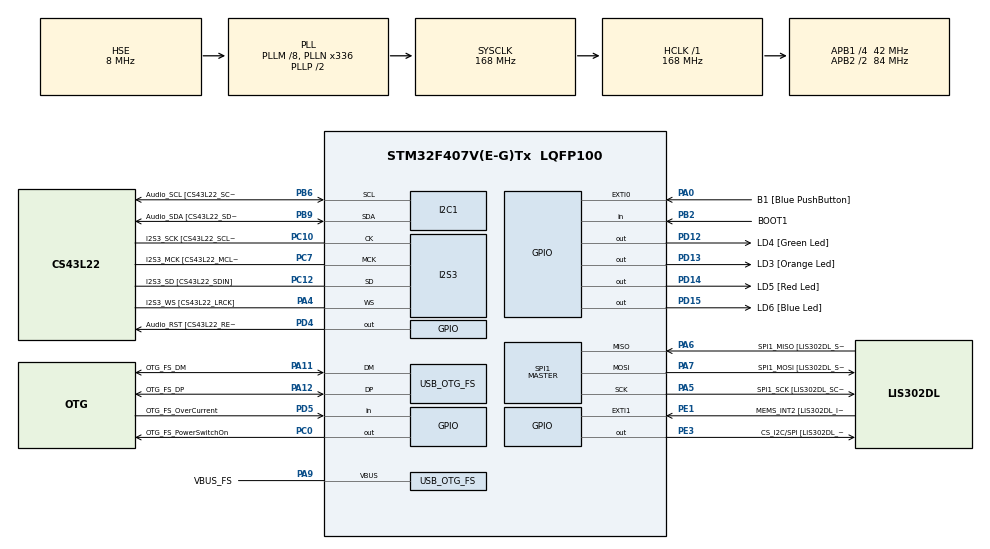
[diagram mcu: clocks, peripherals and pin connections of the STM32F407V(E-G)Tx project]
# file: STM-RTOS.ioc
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FREERTOS.Tasks01=defaultTask,48,128,StartDefaultTask,Default,NULL,Dynamic,NULL,NULL;myTask02,48,128,StartTask02,Default,NULL,Dynamic,NULL,NULL;myTask03,48,128,StartTask03,Default,NULL,Dynamic,NULL,NULL;myTask04,48,128,StartTask04,Default,NULL,Dynamic,NULL,NULL;myTask05,48,128,StartTask05,Default,NULL,Dynamic,NULL,NULL;myTask06,48,128,StartTask06,Default,NULL,Dynamic,NULL,NULL;myTask07,48,128,StartTask07,Default,NULL,Dynamic,NULL,NULL;myTask08,48,128,StartTask08,Default,NULL,Dynamic,NULL,NULL;myTask09,48,128,StartTask09,Default,NULL,Dynamic,NULL,NULL;myTask10,48,128,StartTask10,Default,NULL,Dynamic,NULL,NULL;myTask11,48,128,StartTask11,Default,NULL,Dynamic,NULL,NULL;myTask12,48,128,StartTask12,Default,NULL,Dynamic,NULL,NULL;myTask13,48,128,StartTask13,Default,NULL,Dynamic,NULL,NULL;myTask14,48,128,StartTask14,Default,NULL,Dynamic,NULL,NULL;myTask15,48,128,StartTask15,Default,NULL,Dynamic,NULL,NULL;myTask16,48,128,StartTask16,Default,NULL,Dynamic,NULL,NULL;myTask17,48,128,StartTask17,Default,NULL,Dynamic,NULL,NULL;myTask18,48,128,StartTask18,Default,NULL,Dynamic,NULL,NULL;myTask19,48,128,StartTask19,Default,NULL,Dynamic,NULL,NULL;myTask20,48,128,StartTask20,Default,NULL,Dynamic,NULL,NULL
I2S3.AudioFreq-Half_Duplex_Master=I2S_AUDIOFREQ_96K
I2S3.ErrorAudioFreq=-2.34 %
I2S3.ErrorAudioFreq-Half_Duplex_Master=0.8 %
I2S3.FullDuplexMode=I2S_FULLDUPLEXMODE_DISABLE
I2S3.Instance=SPI$Index
I2S3.RealAudioFreq=93.75 KHz
I2S3.RealAudioFreq-Half_Duplex_Master=96.774 KHz
I2S3.VirtualMode=I2S_MODE_MASTER
Mcu.Family=STM32F4
Mcu.Name=STM32F407V(E-G)Tx
Mcu.Package=LQFP100
NVIC.OTG_FS_IRQn=true\:5\:0\:false\:false\:true\:true\:true\:true\:true
NVIC.PriorityGroup=NVIC_PRIORITYGROUP_4
NVIC.TIM6_DAC_IRQn=true\:15\:0\:false\:false\:true\:false\:false\:true\:true
NVIC.TimeBase=TIM6_DAC_IRQn
NVIC.TimeBaseIP=TIM6
PA0-WKUP.GPIO_Label=B1 [Blue PushButton]
PA0-WKUP.GPIO_ModeDefaultEXTI=GPIO_MODE_EVT_RISING
PA0-WKUP.GPIO_PuPd=GPIO_NOPULL
PA0-WKUP.Signal=GPXTI0
PA10.GPIO_Label=OTG_FS_ID
PA10.GPIO_Mode=GPIO_MODE_AF_PP
PA10.GPIO_PuPd=GPIO_NOPULL
PA10.GPIO_Speed=GPIO_SPEED_FREQ_LOW
PA10.Signal=USB_OTG_FS_ID
PA11.GPIO_Label=OTG_FS_DM
PA11.GPIO_Mode=GPIO_MODE_AF_PP
PA11.GPIO_PuPd=GPIO_NOPULL
PA11.GPIO_Speed=GPIO_SPEED_FREQ_LOW
PA11.Mode=Host_Only
PA11.Signal=USB_OTG_FS_DM
PA12.GPIO_Label=OTG_FS_DP
PA12.GPIO_Mode=GPIO_MODE_AF_PP
PA12.GPIO_PuPd=GPIO_NOPULL
PA12.GPIO_Speed=GPIO_SPEED_FREQ_LOW
PA12.Mode=Host_Only
PA12.Signal=USB_OTG_FS_DP
PA13.GPIO_Label=SWDIO
PA13.Mode=Serial_Wire
PA13.Signal=SYS_JTMS-SWDIO
PA14.GPIO_Label=SWCLK
PA14.Mode=Serial_Wire
PA14.Signal=SYS_JTCK-SWCLK
PA4.GPIO_Label=I2S3_WS [CS43L22_LRCK]
PA4.GPIO_Mode=GPIO_MODE_AF_PP
PA4.GPIO_PuPd=GPIO_NOPULL
PA4.GPIO_Speed=GPIO_SPEED_FREQ_LOW
PA4.Mode=Half_Duplex_Master
PA4.Signal=I2S3_WS
PA5.GPIO_Label=SPI1_SCK [LIS302DL_SCL/SPC]
PA5.GPIO_Mode=GPIO_MODE_AF_PP
PA5.GPIO_PuPd=GPIO_NOPULL
PA5.GPIO_Speed=GPIO_SPEED_FREQ_LOW
PA5.Mode=Full_Duplex_Master
PA5.Signal=SPI1_SCK
PA6.GPIO_Label=SPI1_MISO [LIS302DL_SDO]
PA6.GPIO_Mode=GPIO_MODE_AF_PP
PA6.GPIO_PuPd=GPIO_NOPULL
PA6.GPIO_Speed=GPIO_SPEED_FREQ_LOW
PA6.Mode=Full_Duplex_Master
PA6.Signal=SPI1_MISO
PA7.GPIO_Label=SPI1_MOSI [LIS302DL_SDA/SDI/SDO]
PA7.GPIO_Mode=GPIO_MODE_AF_PP
PA7.GPIO_PuPd=GPIO_NOPULL
PA7.GPIO_Speed=GPIO_SPEED_FREQ_LOW
PA7.Mode=Full_Duplex_Master
PA7.Signal=SPI1_MOSI
PA9.GPIO_Label=VBUS_FS
PA9.GPIO_Mode=GPIO_MODE_INPUT
PA9.GPIO_PuPd=GPIO_NOPULL
PA9.Mode=Activate_VBUS
PA9.Signal=USB_OTG_FS_VBUS
PB10.GPIO_Label=CLK_IN [MP45DT02_CLK]
PB10.GPIO_Mode=GPIO_MODE_AF_PP
PB10.GPIO_PuPd=GPIO_NOPULL
PB10.GPIO_Speed=GPIO_SPEED_FREQ_LOW
PB10.Signal=I2S2_CK
PB2.GPIO_Label=BOOT1
PB2.GPIO_Mode=GPIO_MODE_INPUT
PB2.GPIO_PuPd=GPIO_NOPULL
PB2.Signal=GPIO_Input
PB3.GPIO_Label=SWO
PB3.Signal=SYS_JTDO-SWO
PB6.GPIO_Label=Audio_SCL [CS43L22_SCL]
PB6.GPIO_Mode=GPIO_MODE_AF_OD
PB6.GPIO_Pu=GPIO_PULLUP
PB6.GPIO_PuPd=GPIO_NOPULL
PB6.GPIO_Speed=GPIO_SPEED_FREQ_LOW
PB6.Mode=I2C
PB6.Signal=I2C1_SCL
PB9.GPIO_Label=Audio_SDA [CS43L22_SDA]
PB9.GPIO_Mode=GPIO_MODE_AF_OD
PB9.GPIO_Pu=GPIO_PULLUP
PB9.GPIO_PuPd=GPIO_NOPULL
PB9.GPIO_Speed=GPIO_SPEED_FREQ_LOW
PB9.Mode=I2C
PB9.Signal=I2C1_SDA
PC0.GPIO_Label=OTG_FS_PowerSwitchOn
PC0.GPIO_PuPd=GPIO_NOPULL
PC0.GPIO_Speed=GPIO_SPEED_FREQ_LOW
PC0.PinState=GPIO_PIN_SET
PC0.Signal=GPIO_Output
PC10.GPIO_Label=I2S3_SCK [CS43L22_SCLK]
PC10.GPIO_Mode=GPIO_MODE_AF_PP
PC10.GPIO_PuPd=GPIO_NOPULL
PC10.GPIO_Speed=GPIO_SPEED_FREQ_LOW
PC10.Mode=Half_Duplex_Master
PC10.Signal=I2S3_CK
PC12.GPIO_Label=I2S3_SD [CS43L22_SDIN]
PC12.GPIO_Mode=GPIO_MODE_AF_PP
PC12.GPIO_PuPd=GPIO_NOPULL
PC12.GPIO_Speed=GPIO_SPEED_FREQ_LOW
PC12.Mode=Half_Duplex_Master
PC12.Signal=I2S3_SD
PC14-OSC32_IN.GPIO_Label=PC14-OSC32_IN
PC14-OSC32_IN.Mode=LSE-External-Oscillator
PC14-OSC32_IN.Signal=RCC_OSC32_IN
PC15-OSC32_OUT.GPIO_Label=PC15-OSC32_OUT
PC15-OSC32_OUT.Mode=LSE-External-Oscillator
PC15-OSC32_OUT.Signal=RCC_OSC32_OUT
PC3.GPIO_Label=PDM_OUT [MP45DT02_DOUT]
PC3.GPIO_Mode=GPIO_MODE_AF_PP
PC3.GPIO_PuPd=GPIO_NOPULL
PC3.GPIO_Speed=GPIO_SPEED_FREQ_LOW
PC3.Signal=I2S2_SD
PC7.GPIO_Label=I2S3_MCK [CS43L22_MCLK]
PC7.GPIO_Mode=GPIO_MODE_AF_PP
PC7.GPIO_PuPd=GPIO_NOPULL
PC7.GPIO_Speed=GPIO_SPEED_FREQ_LOW
PC7.Mode=Master_Clock_Activated
PC7.Signal=I2S3_MCK
PD12.GPIO_Label=LD4 [Green Led]
PD12.GPIO_PuPd=GPIO_NOPULL
PD12.GPIO_Speed=GPIO_SPEED_FREQ_LOW
PD12.Signal=GPIO_Output
PD13.GPIO_Label=LD3 [Orange Led]
PD13.GPIO_PuPd=GPIO_NOPULL
PD13.GPIO_Speed=GPIO_SPEED_FREQ_LOW
PD13.Signal=GPIO_Output
PD14.GPIO_Label=LD5 [Red Led]
PD14.GPIO_PuPd=GPIO_NOPULL
PD14.GPIO_Speed=GPIO_SPEED_FREQ_LOW
PD14.Signal=GPIO_Output
PD15.GPIO_Label=LD6 [Blue Led]
PD15.GPIO_PuPd=GPIO_NOPULL
PD15.GPIO_Speed=GPIO_SPEED_FREQ_LOW
PD15.Signal=GPIO_Output
PD4.GPIO_Label=Audio_RST [CS43L22_RESET]
PD4.GPIO_PuPd=GPIO_NOPULL
PD4.GPIO_Speed=GPIO_SPEED_FREQ_LOW
PD4.Signal=GPIO_Output
PD5.GPIO_Label=OTG_FS_OverCurrent
PD5.GPIO_Mode=GPIO_MODE_INPUT
PD5.GPIO_PuPd=GPIO_NOPULL
PD5.Signal=GPIO_Input
PE1.GPIO_Label=MEMS_INT2 [LIS302DL_INT2]
PE1.GPIO_ModeDefaultEXTI=GPIO_MODE_EVT_RISING
PE1.GPIO_PuPd=GPIO_NOPULL
PE1.Signal=GPXTI1
PE3.GPIO_Label=CS_I2C/SPI [LIS302DL_CS_I2C/SPI]
PE3.GPIO_PuPd=GPIO_NOPULL
PE3.GPIO_Speed=GPIO_SPEED_FREQ_LOW
PE3.Signal=GPIO_Output
PH0-OSC_IN.GPIO_Label=PH0-OSC_IN
PH0-OSC_IN.Mode=HSE-External-Oscillator
PH0-OSC_IN.Signal=RCC_OSC_IN
PH1-OSC_OUT.GPIO_Label=PH1-OSC_OUT
PH1-OSC_OUT.Mode=HSE-External-Oscillator
PH1-OSC_OUT.Signal=RCC_OSC_OUT
ProjectManager.HeapSize=0x200
ProjectManager.StackSize=0x400
ProjectManager.TargetToolchain=STM32CubeIDE
RCC.48MHZClocksFreq_Value=48000000
RCC.AHBFreq_Value=168000000
RCC.APB1CLKDivider=RCC_HCLK_DIV4
RCC.APB1Freq_Value=42000000
RCC.APB1TimFreq_Value=84000000
RCC.APB2CLKDivider=RCC_HCLK_DIV2
RCC.APB2Freq_Value=84000000
RCC.APB2TimFreq_Value=168000000
RCC.CortexFreq_Value=168000000
RCC.HCLKFreq_Value=168000000
RCC.HSE_VALUE=8000000
RCC.HSI_VALUE=16000000
RCC.PLLM=8
RCC.PLLN=336
RCC.PLLQ=7
RCC.SYSCLKFreq_VALUE=168000000
RCC.SYSCLKSource=RCC_SYSCLKSOURCE_PLLCLK
RCC.VCOOutputFreq_Value=336000000
SPI1.BaudRatePrescaler-Full_Duplex_Master=SPI_BAUDRATEPRESCALER_2
SPI1.CalculateBaudRate-Full_Duplex_Master=42.0 MBits/s
SPI1.Direction=SPI_DIRECTION_2LINES
SPI1.Mode=SPI_MODE_MASTER
SPI1.Mode-Full_Duplex_Master=SPI_MODE_MASTER
SPI1.VirtualType=VM_MASTER
USB_OTG_FS.VirtualMode=Host_Only
USB_OTG_FS.phy_itface=HCD_PHY_EMBEDDED
VP_FREERTOS_VS_CMSIS_V2.Mode=CMSIS_V2
VP_SYS_VS_tim6.Mode=TIM6
board=STM32F407G-DISC1

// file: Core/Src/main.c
/* USER CODE BEGIN Header */
/**
  ******************************************************************************
  * @file           : main.c
  * @brief          : Main program body
  ******************************************************************************
  * @attention
  *
  * Copyright (c) 2023 STMicroelectronics.
  * All rights reserved.
  *
  * This software is licensed under terms that can be found in the LICENSE file
  * in the root directory of this software component.
  * If no LICENSE file comes with this software, it is provided AS-IS.
  *
  ******************************************************************************
  */
/* USER CODE END Header */
#include "main.h"
#include "cmsis_os.h"

I2C_HandleTypeDef hi2c1;

I2S_HandleTypeDef hi2s3;

SPI_HandleTypeDef hspi1;

HCD_HandleTypeDef hhcd_USB_OTG_FS;

/* Definitions for defaultTask */
osThreadId_t defaultTaskHandle;
const osThreadAttr_t defaultTask_attributes = {
  .name = "defaultTask",
  .stack_size = 128 * 4,
  .priority = (osPriority_t) osPriorityRealtime,
};
/* Definitions for myTask02 */
osThreadId_t myTask02Handle;
const osThreadAttr_t myTask02_attributes = {
  .name = "myTask02",
  .stack_size = 128 * 4,
  .priority = (osPriority_t) osPriorityRealtime,
};
/* Definitions for myTask03 */
osThreadId_t myTask03Handle;
const osThreadAttr_t myTask03_attributes = {
  .name = "myTask03",
  .stack_size = 128 * 4,
  .priority = (osPriority_t) osPriorityRealtime,
};
/* Definitions for myTask04 */
osThreadId_t myTask04Handle;
const osThreadAttr_t myTask04_attributes = {
  .name = "myTask04",
  .stack_size = 128 * 4,
  .priority = (osPriority_t) osPriorityRealtime,
};
/* Definitions for myTask05 */
osThreadId_t myTask05Handle;
const osThreadAttr_t myTask05_attributes = {
  .name = "myTask05",
  .stack_size = 128 * 4,
  .priority = (osPriority_t) osPriorityRealtime,
};
/* Definitions for myTask06 */
osThreadId_t myTask06Handle;
const osThreadAttr_t myTask06_attributes = {
  .name = "myTask06",
  .stack_size = 128 * 4,
  .priority = (osPriority_t) osPriorityRealtime,
};
/* Definitions for myTask07 */
osThreadId_t myTask07Handle;
const osThreadAttr_t myTask07_attributes = {
  .name = "myTask07",
  .stack_size = 128 * 4,
  .priority = (osPriority_t) osPriorityRealtime,
};
/* Definitions for myTask08 */
osThreadId_t myTask08Handle;
const osThreadAttr_t myTask08_attributes = {
  .name = "myTask08",
  .stack_size = 128 * 4,
  .priority = (osPriority_t) osPriorityRealtime,
};
/* Definitions for myTask09 */
osThreadId_t myTask09Handle;
const osThreadAttr_t myTask09_attributes = {
  .name = "myTask09",
  .stack_size = 128 * 4,
  .priority = (osPriority_t) osPriorityRealtime,
};
/* Definitions for myTask10 */
osThreadId_t myTask10Handle;
const osThreadAttr_t myTask10_attributes = {
  .name = "myTask10",
  .stack_size = 128 * 4,
  .priority = (osPriority_t) osPriorityRealtime,
};
/* Definitions for myTask11 */
osThreadId_t myTask11Handle;
const osThreadAttr_t myTask11_attributes = {
  .name = "myTask11",
  .stack_size = 128 * 4,
  .priority = (osPriority_t) osPriorityRealtime,
};
/* Definitions for myTask12 */
osThreadId_t myTask12Handle;
const osThreadAttr_t myTask12_attributes = {
  .name = "myTask12",
  .stack_size = 128 * 4,
  .priority = (osPriority_t) osPriorityRealtime,
};
/* Definitions for myTask13 */
osThreadId_t myTask13Handle;
const osThreadAttr_t myTask13_attributes = {
  .name = "myTask13",
  .stack_size = 128 * 4,
  .priority = (osPriority_t) osPriorityRealtime,
};
/* Definitions for myTask14 */
osThreadId_t myTask14Handle;
const osThreadAttr_t myTask14_attributes = {
  .name = "myTask14",
  .stack_size = 128 * 4,
  .priority = (osPriority_t) osPriorityRealtime,
};
/* Definitions for myTask15 */
osThreadId_t myTask15Handle;
const osThreadAttr_t myTask15_attributes = {
  .name = "myTask15",
  .stack_size = 128 * 4,
  .priority = (osPriority_t) osPriorityRealtime,
};
/* Definitions for myTask16 */
osThreadId_t myTask16Handle;
const osThreadAttr_t myTask16_attributes = {
  .name = "myTask16",
  .stack_size = 128 * 4,
  .priority = (osPriority_t) osPriorityRealtime,
};
/* Definitions for myTask17 */
osThreadId_t myTask17Handle;
const osThreadAttr_t myTask17_attributes = {
  .name = "myTask17",
  .stack_size = 128 * 4,
  .priority = (osPriority_t) osPriorityRealtime,
};
/* Definitions for myTask18 */
osThreadId_t myTask18Handle;
const osThreadAttr_t myTask18_attributes = {
  .name = "myTask18",
  .stack_size = 128 * 4,
  .priority = (osPriority_t) osPriorityRealtime,
};
/* Definitions for myTask19 */
osThreadId_t myTask19Handle;
const osThreadAttr_t myTask19_attributes = {
  .name = "myTask19",
  .stack_size = 128 * 4,
  .priority = (osPriority_t) osPriorityRealtime,
};
/* Definitions for myTask20 */
osThreadId_t myTask20Handle;
const osThreadAttr_t myTask20_attributes = {
  .name = "myTask20",
  .stack_size = 128 * 4,
  .priority = (osPriority_t) osPriorityRealtime,
};
/* USER CODE BEGIN PV */

int count = 0;

/* USER CODE END PV */

void SystemClock_Config(void);
static void MX_GPIO_Init(void);
static void MX_I2C1_Init(void);
static void MX_I2S3_Init(void);
static void MX_SPI1_Init(void);
static void MX_USB_OTG_FS_HCD_Init(void);
void StartDefaultTask(void *argument);
void StartTask02(void *argument);
void StartTask03(void *argument);
void StartTask04(void *argument);
void StartTask05(void *argument);
void StartTask06(void *argument);
void StartTask07(void *argument);
void StartTask08(void *argument);
void StartTask09(void *argument);
void StartTask10(void *argument);
void StartTask11(void *argument);
void StartTask12(void *argument);
void StartTask13(void *argument);
void StartTask14(void *argument);
void StartTask15(void *argument);
void StartTask16(void *argument);
void StartTask17(void *argument);
void StartTask18(void *argument);
void StartTask19(void *argument);
void StartTask20(void *argument);

int main(void)
{

  /* MCU Configuration--------------------------------------------------------*/

  /* Reset of all peripherals, Initializes the Flash interface and the Systick. */
  HAL_Init();

  /* Configure the system clock */
  SystemClock_Config();

  /* Initialize all configured peripherals */
  MX_GPIO_Init();
  MX_I2C1_Init();
  MX_I2S3_Init();
  MX_SPI1_Init();
  MX_USB_OTG_FS_HCD_Init();
  /* USER CODE BEGIN 2 */
  vTraceEnable(TRC_START);
  /* USER CODE END 2 */

  /* Init scheduler */
  osKernelInitialize();

  /* Create the thread(s) */
  /* creation of defaultTask */
  defaultTaskHandle = osThreadNew(StartDefaultTask, NULL, &defaultTask_attributes);

  /* creation of myTask02 */
  myTask02Handle = osThreadNew(StartTask02, NULL, &myTask02_attributes);

  /* creation of myTask03 */
  myTask03Handle = osThreadNew(StartTask03, NULL, &myTask03_attributes);

  /* creation of myTask04 */
  myTask04Handle = osThreadNew(StartTask04, NULL, &myTask04_attributes);

  /* creation of myTask05 */
  myTask05Handle = osThreadNew(StartTask05, NULL, &myTask05_attributes);

  /* creation of myTask06 */
  myTask06Handle = osThreadNew(StartTask06, NULL, &myTask06_attributes);

  /* creation of myTask07 */
  myTask07Handle = osThreadNew(StartTask07, NULL, &myTask07_attributes);

  /* creation of myTask08 */
  myTask08Handle = osThreadNew(StartTask08, NULL, &myTask08_attributes);

  /* creation of myTask09 */
  myTask09Handle = osThreadNew(StartTask09, NULL, &myTask09_attributes);

  /* creation of myTask10 */
  myTask10Handle = osThreadNew(StartTask10, NULL, &myTask10_attributes);

  /* creation of myTask11 */
  myTask11Handle = osThreadNew(StartTask11, NULL, &myTask11_attributes);

  /* creation of myTask12 */
  myTask12Handle = osThreadNew(StartTask12, NULL, &myTask12_attributes);

  /* creation of myTask13 */
  myTask13Handle = osThreadNew(StartTask13, NULL, &myTask13_attributes);

  /* creation of myTask14 */
  myTask14Handle = osThreadNew(StartTask14, NULL, &myTask14_attributes);

  /* creation of myTask15 */
  myTask15Handle = osThreadNew(StartTask15, NULL, &myTask15_attributes);

  /* creation of myTask16 */
  myTask16Handle = osThreadNew(StartTask16, NULL, &myTask16_attributes);

  /* creation of myTask17 */
  myTask17Handle = osThreadNew(StartTask17, NULL, &myTask17_attributes);

  /* creation of myTask18 */
  myTask18Handle = osThreadNew(StartTask18, NULL, &myTask18_attributes);

  /* creation of myTask19 */
  myTask19Handle = osThreadNew(StartTask19, NULL, &myTask19_attributes);

  /* creation of myTask20 */
  myTask20Handle = osThreadNew(StartTask20, NULL, &myTask20_attributes);

  /* Start scheduler */
  osKernelStart();
  /* We should never get here as control is now taken by the scheduler */
  /* Infinite loop */
  while (1)
  {

  }
}

void SystemClock_Config(void)
{
  RCC_OscInitTypeDef RCC_OscInitStruct = {0};
  RCC_ClkInitTypeDef RCC_ClkInitStruct = {0};

  /** Configure the main internal regulator output voltage
  */
  __HAL_RCC_PWR_CLK_ENABLE();
  __HAL_PWR_VOLTAGESCALING_CONFIG(PWR_REGULATOR_VOLTAGE_SCALE1);

  /** Initializes the RCC Oscillators according to the specified parameters
  * in the RCC_OscInitTypeDef structure.
  */
  RCC_OscInitStruct.OscillatorType = RCC_OSCILLATORTYPE_HSE;
  RCC_OscInitStruct.HSEState = RCC_HSE_ON;
  RCC_OscInitStruct.PLL.PLLState = RCC_PLL_ON;
  RCC_OscInitStruct.PLL.PLLSource = RCC_PLLSOURCE_HSE;
  RCC_OscInitStruct.PLL.PLLM = 8;
  RCC_OscInitStruct.PLL.PLLN = 336;
  RCC_OscInitStruct.PLL.PLLP = RCC_PLLP_DIV2;
  RCC_OscInitStruct.PLL.PLLQ = 7;
  if (HAL_RCC_OscConfig(&RCC_OscInitStruct) != HAL_OK)
  {
    Error_Handler();
  }

  /** Initializes the CPU, AHB and APB buses clocks
  */
  RCC_ClkInitStruct.ClockType = RCC_CLOCKTYPE_HCLK|RCC_CLOCKTYPE_SYSCLK
                              |RCC_CLOCKTYPE_PCLK1|RCC_CLOCKTYPE_PCLK2;
  RCC_ClkInitStruct.SYSCLKSource = RCC_SYSCLKSOURCE_PLLCLK;
  RCC_ClkInitStruct.AHBCLKDivider = RCC_SYSCLK_DIV1;
  RCC_ClkInitStruct.APB1CLKDivider = RCC_HCLK_DIV4;
  RCC_ClkInitStruct.APB2CLKDivider = RCC_HCLK_DIV2;

  if (HAL_RCC_ClockConfig(&RCC_ClkInitStruct, FLASH_LATENCY_5) != HAL_OK)
  {
    Error_Handler();
  }
}

static void MX_I2C1_Init(void)
{

  hi2c1.Instance = I2C1;
  hi2c1.Init.ClockSpeed = 100000;
  hi2c1.Init.DutyCycle = I2C_DUTYCYCLE_2;
  hi2c1.Init.OwnAddress1 = 0;
  hi2c1.Init.AddressingMode = I2C_ADDRESSINGMODE_7BIT;
  hi2c1.Init.DualAddressMode = I2C_DUALADDRESS_DISABLE;
  hi2c1.Init.OwnAddress2 = 0;
  hi2c1.Init.GeneralCallMode = I2C_GENERALCALL_DISABLE;
  hi2c1.Init.NoStretchMode = I2C_NOSTRETCH_DISABLE;
  if (HAL_I2C_Init(&hi2c1) != HAL_OK)
  {
    Error_Handler();
  }

}

static void MX_I2S3_Init(void)
{

  hi2s3.Instance = SPI3;
  hi2s3.Init.Mode = I2S_MODE_MASTER_TX;
  hi2s3.Init.Standard = I2S_STANDARD_PHILIPS;
  hi2s3.Init.DataFormat = I2S_DATAFORMAT_16B;
  hi2s3.Init.MCLKOutput = I2S_MCLKOUTPUT_ENABLE;
  hi2s3.Init.AudioFreq = I2S_AUDIOFREQ_96K;
  hi2s3.Init.CPOL = I2S_CPOL_LOW;
  hi2s3.Init.ClockSource = I2S_CLOCK_PLL;
  hi2s3.Init.FullDuplexMode = I2S_FULLDUPLEXMODE_DISABLE;
  if (HAL_I2S_Init(&hi2s3) != HAL_OK)
  {
    Error_Handler();
  }

}

static void MX_SPI1_Init(void)
{

  /* SPI1 parameter configuration*/
  hspi1.Instance = SPI1;
  hspi1.Init.Mode = SPI_MODE_MASTER;
  hspi1.Init.Direction = SPI_DIRECTION_2LINES;
  hspi1.Init.DataSize = SPI_DATASIZE_8BIT;
  hspi1.Init.CLKPolarity = SPI_POLARITY_LOW;
  hspi1.Init.CLKPhase = SPI_PHASE_1EDGE;
  hspi1.Init.NSS = SPI_NSS_SOFT;
  hspi1.Init.BaudRatePrescaler = SPI_BAUDRATEPRESCALER_2;
  hspi1.Init.FirstBit = SPI_FIRSTBIT_MSB;
  hspi1.Init.TIMode = SPI_TIMODE_DISABLE;
  hspi1.Init.CRCCalculation = SPI_CRCCALCULATION_DISABLE;
  hspi1.Init.CRCPolynomial = 10;
  if (HAL_SPI_Init(&hspi1) != HAL_OK)
  {
    Error_Handler();
  }

}

static void MX_USB_OTG_FS_HCD_Init(void)
{

  hhcd_USB_OTG_FS.Instance = USB_OTG_FS;
  hhcd_USB_OTG_FS.Init.Host_channels = 8;
  hhcd_USB_OTG_FS.Init.speed = HCD_SPEED_FULL;
  hhcd_USB_OTG_FS.Init.dma_enable = DISABLE;
  hhcd_USB_OTG_FS.Init.phy_itface = HCD_PHY_EMBEDDED;
  hhcd_USB_OTG_FS.Init.Sof_enable = DISABLE;
  if (HAL_HCD_Init(&hhcd_USB_OTG_FS) != HAL_OK)
  {
    Error_Handler();
  }

}

static void MX_GPIO_Init(void)
{
  GPIO_InitTypeDef GPIO_InitStruct = {0};

  /* GPIO Ports Clock Enable */
  __HAL_RCC_GPIOE_CLK_ENABLE();
  __HAL_RCC_GPIOC_CLK_ENABLE();
  __HAL_RCC_GPIOH_CLK_ENABLE();
  __HAL_RCC_GPIOA_CLK_ENABLE();
  __HAL_RCC_GPIOB_CLK_ENABLE();
  __HAL_RCC_GPIOD_CLK_ENABLE();

  /*Configure GPIO pin Output Level */
  HAL_GPIO_WritePin(CS_I2C_SPI_GPIO_Port, CS_I2C_SPI_Pin, GPIO_PIN_RESET);

  /*Configure GPIO pin Output Level */
  HAL_GPIO_WritePin(OTG_FS_PowerSwitchOn_GPIO_Port, OTG_FS_PowerSwitchOn_Pin, GPIO_PIN_SET);

  /*Configure GPIO pin Output Level */
  HAL_GPIO_WritePin(GPIOD, LD4_Pin|LD3_Pin|LD5_Pin|LD6_Pin
                          |Audio_RST_Pin, GPIO_PIN_RESET);

  /*Configure GPIO pin : CS_I2C_SPI_Pin */
  GPIO_InitStruct.Pin = CS_I2C_SPI_Pin;
  GPIO_InitStruct.Mode = GPIO_MODE_OUTPUT_PP;
  GPIO_InitStruct.Pull = GPIO_NOPULL;
  GPIO_InitStruct.Speed = GPIO_SPEED_FREQ_LOW;
  HAL_GPIO_Init(CS_I2C_SPI_GPIO_Port, &GPIO_InitStruct);

  /*Configure GPIO pin : OTG_FS_PowerSwitchOn_Pin */
  GPIO_InitStruct.Pin = OTG_FS_PowerSwitchOn_Pin;
  GPIO_InitStruct.Mode = GPIO_MODE_OUTPUT_PP;
  GPIO_InitStruct.Pull = GPIO_NOPULL;
  GPIO_InitStruct.Speed = GPIO_SPEED_FREQ_LOW;
  HAL_GPIO_Init(OTG_FS_PowerSwitchOn_GPIO_Port, &GPIO_InitStruct);

  /*Configure GPIO pin : PDM_OUT_Pin */
  GPIO_InitStruct.Pin = PDM_OUT_Pin;
  GPIO_InitStruct.Mode = GPIO_MODE_AF_PP;
  GPIO_InitStruct.Pull = GPIO_NOPULL;
  GPIO_InitStruct.Speed = GPIO_SPEED_FREQ_LOW;
  GPIO_InitStruct.Alternate = GPIO_AF5_SPI2;
  HAL_GPIO_Init(PDM_OUT_GPIO_Port, &GPIO_InitStruct);

  /*Configure GPIO pin : B1_Pin */
  GPIO_InitStruct.Pin = B1_Pin;
  GPIO_InitStruct.Mode = GPIO_MODE_EVT_RISING;
  GPIO_InitStruct.Pull = GPIO_NOPULL;
  HAL_GPIO_Init(B1_GPIO_Port, &GPIO_InitStruct);

  /*Configure GPIO pin : BOOT1_Pin */
  GPIO_InitStruct.Pin = BOOT1_Pin;
  GPIO_InitStruct.Mode = GPIO_MODE_INPUT;
  GPIO_InitStruct.Pull = GPIO_NOPULL;
  HAL_GPIO_Init(BOOT1_GPIO_Port, &GPIO_InitStruct);

  /*Configure GPIO pin : CLK_IN_Pin */
  GPIO_InitStruct.Pin = CLK_IN_Pin;
  GPIO_InitStruct.Mode = GPIO_MODE_AF_PP;
  GPIO_InitStruct.Pull = GPIO_NOPULL;
  GPIO_InitStruct.Speed = GPIO_SPEED_FREQ_LOW;
  GPIO_InitStruct.Alternate = GPIO_AF5_SPI2;
  HAL_GPIO_Init(CLK_IN_GPIO_Port, &GPIO_InitStruct);

  /*Configure GPIO pins : LD4_Pin LD3_Pin LD5_Pin LD6_Pin
                           Audio_RST_Pin */
  GPIO_InitStruct.Pin = LD4_Pin|LD3_Pin|LD5_Pin|LD6_Pin
                          |Audio_RST_Pin;
  GPIO_InitStruct.Mode = GPIO_MODE_OUTPUT_PP;
  GPIO_InitStruct.Pull = GPIO_NOPULL;
  GPIO_InitStruct.Speed = GPIO_SPEED_FREQ_LOW;
  HAL_GPIO_Init(GPIOD, &GPIO_InitStruct);

  /*Configure GPIO pin : OTG_FS_OverCurrent_Pin */
  GPIO_InitStruct.Pin = OTG_FS_OverCurrent_Pin;
  GPIO_InitStruct.Mode = GPIO_MODE_INPUT;
  GPIO_InitStruct.Pull = GPIO_NOPULL;
  HAL_GPIO_Init(OTG_FS_OverCurrent_GPIO_Port, &GPIO_InitStruct);

  /*Configure GPIO pin : MEMS_INT2_Pin */
  GPIO_InitStruct.Pin = MEMS_INT2_Pin;
  GPIO_InitStruct.Mode = GPIO_MODE_EVT_RISING;
  GPIO_InitStruct.Pull = GPIO_NOPULL;
  HAL_GPIO_Init(MEMS_INT2_GPIO_Port, &GPIO_InitStruct);

}

void StartDefaultTask(void *argument)
{
  /* USER CODE BEGIN 5 */
	traceString counter_string = xTraceRegisterString("Task 1");
  /* Infinite loop */
  for(;;)
  {
    HAL_GPIO_TogglePin(GPIOD, GPIO_PIN_15);
    vTracePrintF(counter_string, "Counter: %d", count);
    count++;
    osDelay(1);
  }
  /* USER CODE END 5 */
}

void StartTask02(void *argument)
{
  /* USER CODE BEGIN StartTask02 */
	traceString counter_string = xTraceRegisterString("Task 2");
  /* Infinite loop */
  for(;;)
  {
	  vTracePrintF(counter_string, "Counter: %d", count);
	  count++;
    osDelay(1);
  }
  /* USER CODE END StartTask02 */
}

void StartTask03(void *argument)
{
  /* USER CODE BEGIN StartTask03 */
	traceString counter_string = xTraceRegisterString("Task 3");
  /* Infinite loop */
  for(;;)
  {
	  vTracePrintF(counter_string, "Counter: %d", count);
	  count++;
    osDelay(1);
  }
  /* USER CODE END StartTask03 */
}

void StartTask04(void *argument)
{
  /* USER CODE BEGIN StartTask04 */
	traceString counter_string = xTraceRegisterString("Task 4");
  /* Infinite loop */
  for(;;)
  {
	  vTracePrintF(counter_string, "Counter: %d", count);
	  count++;
    osDelay(1);
  }
  /* USER CODE END StartTask04 */
}

void StartTask05(void *argument)
{
  /* USER CODE BEGIN StartTask05 */
	traceString counter_string = xTraceRegisterString("Task 5");
  /* Infinite loop */
  for(;;)
  {
	  vTracePrintF(counter_string, "Counter: %d", count);
	  count++;
    osDelay(1);
  }
  /* USER CODE END StartTask05 */
}

void StartTask06(void *argument)
{
  /* USER CODE BEGIN StartTask06 */
	traceString counter_string = xTraceRegisterString("Task 6");
  /* Infinite loop */
  for(;;)
  {
	  vTracePrintF(counter_string, "Counter: %d", count);
	  count++;
    osDelay(1);
  }
  /* USER CODE END StartTask06 */
}

void StartTask07(void *argument)
{
  /* USER CODE BEGIN StartTask07 */
	traceString counter_string = xTraceRegisterString("Task 7");
  /* Infinite loop */
  for(;;)
  {
	  vTracePrintF(counter_string, "Counter: %d", count);
	  count++;
    osDelay(1);
  }
  /* USER CODE END StartTask07 */
}

void StartTask08(void *argument)
{
  /* USER CODE BEGIN StartTask08 */
	traceString counter_string = xTraceRegisterString("Task 8");
  /* Infinite loop */
  for(;;)
  {
	  vTracePrintF(counter_string, "Counter: %d", count);
	  count++;
    osDelay(1);
  }
  /* USER CODE END StartTask08 */
}

void StartTask09(void *argument)
{
  /* USER CODE BEGIN StartTask09 */
	traceString counter_string = xTraceRegisterString("Task 9");
  /* Infinite loop */
  for(;;)
  {
	  vTracePrintF(counter_string, "Counter: %d", count);
	  count++;
    osDelay(1);
  }
  /* USER CODE END StartTask09 */
}

void StartTask10(void *argument)
{
  /* USER CODE BEGIN StartTask10 */
	traceString counter_string = xTraceRegisterString("Task 10");
  /* Infinite loop */
  for(;;)
  {
	  vTracePrintF(counter_string, "Counter: %d", count);
	  count++;
    osDelay(1);
  }
  /* USER CODE END StartTask10 */
}

void StartTask11(void *argument)
{
  /* USER CODE BEGIN StartTask11 */
	traceString counter_string = xTraceRegisterString("Task 11");
  /* Infinite loop */
  for(;;)
  {
	  vTracePrintF(counter_string, "Counter: %d", count);
	  count++;
    osDelay(1);
  }
  /* USER CODE END StartTask11 */
}

void StartTask12(void *argument)
{
  /* USER CODE BEGIN StartTask12 */
	traceString counter_string = xTraceRegisterString("Task 12");
  /* Infinite loop */
  for(;;)
  {
	  vTracePrintF(counter_string, "Counter: %d", count);
	  count++;
    osDelay(1);
  }
  /* USER CODE END StartTask12 */
}

void StartTask13(void *argument)
{
  /* USER CODE BEGIN StartTask13 */
	traceString counter_string = xTraceRegisterString("Task 13");
  /* Infinite loop */
  for(;;)
  {
	  vTracePrintF(counter_string, "Counter: %d", count);
	  count++;
    osDelay(1);
  }
  /* USER CODE END StartTask13 */
}

void StartTask14(void *argument)
{
  /* USER CODE BEGIN StartTask14 */
	traceString counter_string = xTraceRegisterString("Task 14");
  /* Infinite loop */
  for(;;)
  {
	  vTracePrintF(counter_string, "Counter: %d", count);
	  count++;
    osDelay(1);
  }
  /* USER CODE END StartTask14 */
}

void StartTask15(void *argument)
{
  /* USER CODE BEGIN StartTask15 */
	traceString counter_string = xTraceRegisterString("Task 15");
  /* Infinite loop */
  for(;;)
  {
	  vTracePrintF(counter_string, "Counter: %d", count);
	  count++;
    osDelay(1);
  }
  /* USER CODE END StartTask15 */
}

void StartTask16(void *argument)
{
  /* USER CODE BEGIN StartTask16 */
	traceString counter_string = xTraceRegisterString("Task 16");
  /* Infinite loop */
  for(;;)
  {
	  vTracePrintF(counter_string, "Counter: %d", count);
	  count++;
    osDelay(1);
  }
  /* USER CODE END StartTask16 */
}

void StartTask17(void *argument)
{
  /* USER CODE BEGIN StartTask17 */
	traceString counter_string = xTraceRegisterString("Task 17");
  /* Infinite loop */
  for(;;)
  {
	  vTracePrintF(counter_string, "Counter: %d", count);
	  count++;
    osDelay(1);
  }
  /* USER CODE END StartTask17 */
}

void StartTask18(void *argument)
{
  /* USER CODE BEGIN StartTask18 */
	traceString counter_string = xTraceRegisterString("Task 18");
  /* Infinite loop */
  for(;;)
  {
	  vTracePrintF(counter_string, "Counter: %d", count);
	  count++;
    osDelay(1);
  }
  /* USER CODE END StartTask18 */
}

void StartTask19(void *argument)
{
  /* USER CODE BEGIN StartTask19 */
	traceString counter_string = xTraceRegisterString("Task 19");
  /* Infinite loop */
  for(;;)
  {
	  vTracePrintF(counter_string, "Counter: %d", count);
	  count++;
    osDelay(1);
  }
  /* USER CODE END StartTask19 */
}

void StartTask20(void *argument)
{
  /* USER CODE BEGIN StartTask20 */
	traceString counter_string = xTraceRegisterString("Task 20");
  /* Infinite loop */
  for(;;)
  {
	  vTracePrintF(counter_string, "Counter: %d", count);
	  count++;
    osDelay(1);
  }
  /* USER CODE END StartTask20 */
}

void HAL_TIM_PeriodElapsedCallback(TIM_HandleTypeDef *htim)
{
  if (htim->Instance == TIM6) {
    HAL_IncTick();
  }
}

void Error_Handler(void)
{
  __disable_irq();
  while (1)
  {
  }
}
